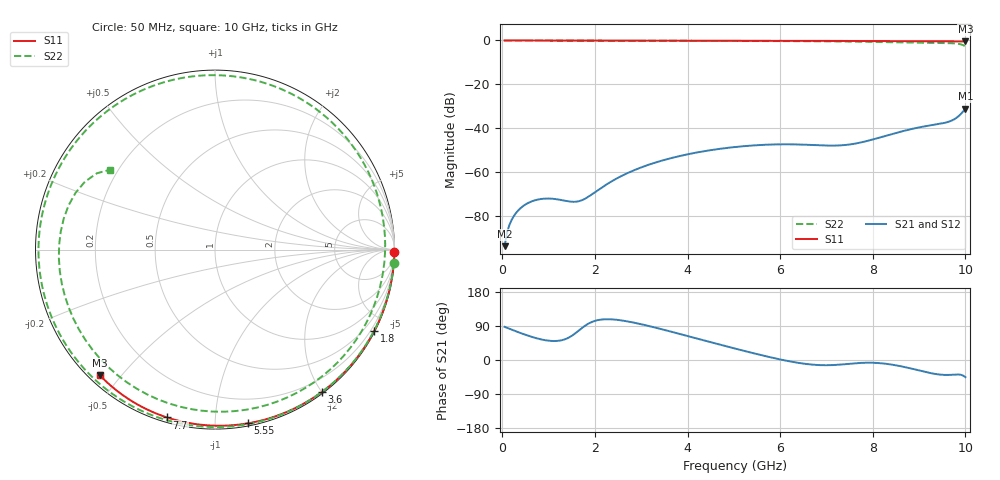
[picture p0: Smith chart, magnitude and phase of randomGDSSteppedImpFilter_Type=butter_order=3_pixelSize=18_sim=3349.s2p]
! freq	dB(S11)	phase(S11)	dB(S12)	phase(S12)
!  dB(S21)	phase(S21)	dB(S22)	phase(S22)
!S-par simulation data
#  GHz  S  DB  R 50
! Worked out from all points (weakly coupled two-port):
!   200 points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, 50 MHz to 10 GHz, reference 50 ohm
!   highest |S21| = -30.98 dB at 10 GHz (marker M1); lowest = -93.5 dB at 50 MHz (marker M2)
!   lowest |S11| = -0.4 dB at 10 GHz (marker M3), VSWR 39.11, Z = 1.53 - j22 ohm
!   |S11| at or under -10 dB: nowhere
!   |S22| runs from -2.7 to 0.0 dB; largest |S21 - S12| = 0
!   S11 on the Smith chart (normalised r, x): 50 MHz: open; 1.8 GHz: 0.04, -4.14; 3.6 GHz: 0.02, -2.00; 5.55 GHz: 0.02, -1.21; 7.7 GHz: 0.02, -0.75; 10 GHz: 0.03, -0.44
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0.05  -0.00 -0.8  -93.52 87.5  -93.52 87.5  -0.00 -4.3
0.25  -0.01 -3.8  -79.79 77.8  -79.79 77.8  -0.03 -21.0
0.5  -0.01 -7.6  -74.57 66.5  -74.57 66.5  -0.06 -41.3
0.85  -0.02 -12.9  -72.03 54.1  -72.03 54.1  -0.08 -67.7
1.25  -0.02 -19.0  -72.44 51.4  -72.44 51.4  -0.10 -94.4
1.75  -0.03 -26.4  -72.33 87.1  -72.33 87.1  -0.12 -122.8
1.8  -0.03 -27.2  -71.79 91.4  -71.79 91.4  -0.12 -125.4
2.55  -0.05 -38.2  -61.87 104.9  -61.87 104.9  -0.13 -159.9
3.4  -0.07 -50.3  -54.91 82.5  -54.91 82.5  -0.15 166.9
3.6  -0.07 -53.1  -53.73 76.2  -53.73 76.2  -0.16 159.5
4.3  -0.09 -62.8  -50.56 53.5  -50.56 53.5  -0.19 133.9
5.05  -0.11 -72.8  -48.39 29.4  -48.39 29.4  -0.22 105.6
5.55  -0.13 -79.3  -47.55 14.1  -47.55 14.1  -0.26 85.5
6.15  -0.15 -87.0  -47.21 -2.3  -47.21 -2.3  -0.30 59.1
6.7  -0.18 -93.8  -47.54 -12.3  -47.54 -12.3  -0.36 32.1
7.25  -0.21 -100.5  -47.75 -12.5  -47.75 -12.5  -0.46 1.8
7.7  -0.24 -105.9  -46.56 -7.9  -46.56 -7.9  -0.57 -26.0
8.35  -0.29 -113.6  -42.93 -11.0  -42.93 -11.0  -0.79 -71.5
8.85  -0.33 -119.4  -40.20 -23.1  -40.20 -23.1  -0.99 -111.1
9.4  -0.38 -125.7  -38.07 -37.7  -38.07 -37.7  -1.14 -158.5
9.75  -0.42 -129.7  -35.95 -38.6  -35.95 -38.6  -1.31 168.4
10  -0.44 -132.5  -30.98 -45.3  -30.98 -45.3  -2.68 142.7
